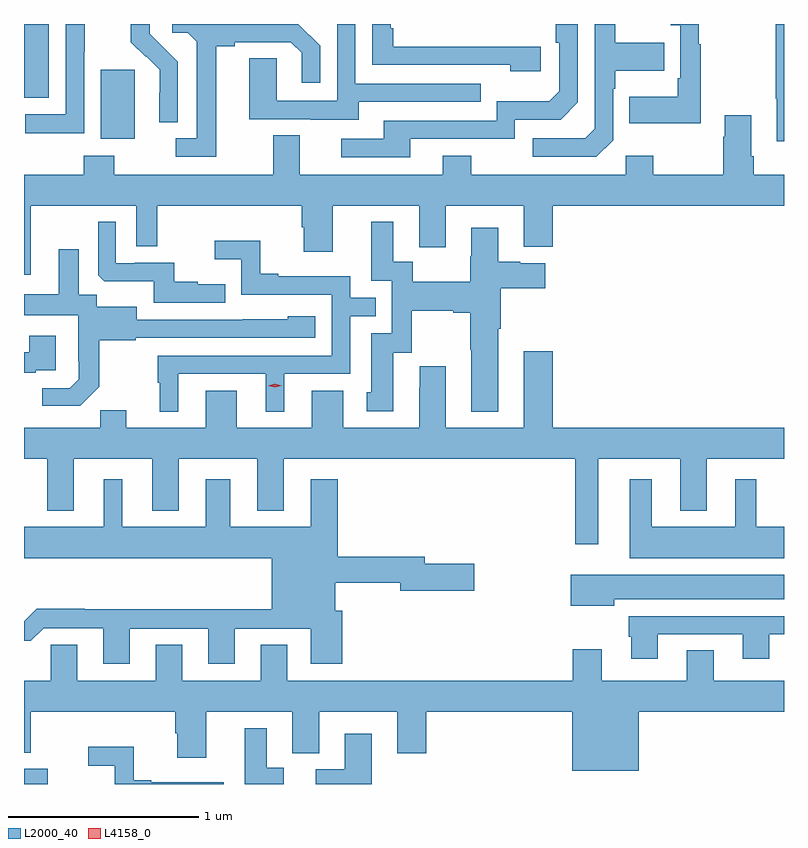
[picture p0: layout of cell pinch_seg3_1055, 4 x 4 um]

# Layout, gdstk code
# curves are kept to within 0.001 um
import gdstk
lib = gdstk.Library(unit=1e-6, precision=1e-09)
def R(c, l, rs):  # rectangles x0, y0, x1, y1
    for r in rs: c.add(gdstk.rectangle(r[:2], r[2:], *l))
def P(c, l, *ps):  # polygons
    for p in ps: c.add(gdstk.Polygon(p, *l))
L2000_40 = (2000, 40)
L4158_0 = (4158, 0)

pinch_seg3_1055 = lib.new_cell('pinch_seg3_1055')
R(pinch_seg3_1055, L2000_40, [(256.16,704.533,256.286,704.613), (256.565,707.93,256.744,708.291), (256.16,708.146,256.291,708.533), (259.847,708.531,259.987,708.533)])
P(pinch_seg3_1055, L2000_40, [(258.193,707.928),(258.744,707.928),(258.744,708.03),(258.984,708.03),(259.074,708.12),(259.074,708.533),(258.181,708.533),(258.283,708.531),(258.958,708.531),(258.958,708.434),(258.978,708.434),(258.978,708.18),(258.925,708.127),(258.648,708.127),(258.648,708.024),(258.053,708.024),(258.053,707.928),(257.829,707.928),(257.829,707.832),(258.193,707.832)],
  [(258.88,708.414),(258.103,708.414),(258.103,708.511),(258.09,708.511),(258.09,708.533),(257.994,708.533),(257.994,708.318),(258.719,708.318),(258.719,708.284),(258.88,708.284)],
  [(256.968,708.334),(256.822,708.482),(256.822,708.533),(256.723,708.533),(256.723,708.437),(256.8,708.36),(256.803,708.363),(256.874,708.293),(256.874,708.17),(256.872,708.17),(256.872,708.016),(256.968,708.016)],
  [(256.476,708.388),(256.479,708.388),(256.479,708.533),(256.38,708.533),(256.38,708.057),(256.166,708.057),(256.166,707.959),(256.476,707.959)],
  [(257.173,708.416),(257.269,708.416),(257.269,708.438),(257.564,708.438),(257.621,708.381),(257.621,708.225),(257.718,708.225),(257.718,708.418),(257.603,708.533),(257.23,708.533),(257.23,708.531),(257.136,708.531),(257.134,708.533),(256.941,708.533),(256.941,708.486),(257.022,708.486),(257.069,708.439),(257.069,707.931),(256.959,707.931),(256.959,707.835),(257.173,707.835)],
  [(257.923,708.123),(258.563,708.123),(258.563,708.219),(257.904,708.219),(257.904,708.533),(257.808,708.533),(257.808,708.129),(257.49,708.129),(257.49,708.353),(257.345,708.353),(257.345,708.033),(257.669,708.033),(257.669,708.029),(257.923,708.029)],
  [(260.16,708.533),(260.116,708.533),(260.116,708.139),(260.123,708.139),(260.123,707.916),(260.16,707.916)],
  [(259.26,707.922),(259.26,708.191),(259.273,708.191),(259.273,708.287),(259.529,708.287),(259.529,708.435),(259.273,708.435),(259.273,708.533),(259.164,708.533),(259.164,707.982),(259.113,707.931),(258.837,707.931),(258.837,707.835),(259.173,707.835)],
  [(259.723,708.427),(259.711,708.427),(259.711,708.533),(259.563,708.533),(259.563,708.527),(259.614,708.527),(259.614,708.247),(259.602,708.247),(259.602,708.151),(259.345,708.151),(259.345,708.011),(259.723,708.011)],
  [(256.195,707.576),(256.752,707.576),(256.752,707.362),(256.861,707.362),(256.861,707.576),(257.621,707.576),(257.621,707.463),(257.633,707.463),(257.633,707.334),(257.785,707.334),(257.785,707.576),(258.239,707.576),(258.239,707.358),(258.379,707.358),(258.379,707.576),(258.791,707.576),(258.791,707.36),(258.944,707.36),(258.944,707.576),(260.16,707.576),(260.16,707.74),(260,707.74),(260,707.836),(259.987,707.836),(259.987,708.052),(259.847,708.052),(259.847,707.939),(259.84,707.939),(259.84,707.74),(259.473,707.74),(259.473,707.839),(259.326,707.839),(259.326,707.74),(258.513,707.74),(258.513,707.839),(258.365,707.839),(258.365,707.74),(257.611,707.74),(257.611,707.948),(257.471,707.948),(257.471,707.74),(256.635,707.74),(256.635,707.839),(256.475,707.839),(256.475,707.74),(256.16,707.74),(256.16,707.214),(256.195,707.214)],
  [(257.219,707.164),(257.075,707.164),(257.075,707.176),(256.952,707.176),(256.952,707.277),(256.744,707.277),(256.744,707.274),(256.644,707.274),(256.644,707.491),(256.551,707.491),(256.551,707.211),(256.583,707.18),(256.842,707.18),(256.842,707.067),(257.219,707.067)],
  [(258.655,706.928),(258.668,706.928),(258.668,707.141),(258.904,707.141),(258.904,707.275),(258.771,707.275),(258.771,707.282),(258.655,707.282),(258.655,707.461),(258.515,707.461),(258.515,707.31),(258.508,707.31),(258.508,707.176),(258.205,707.176),(258.205,707.282),(258.103,707.282),(258.103,707.491),(257.987,707.491),(257.987,707.181),(258.096,707.181),(258.096,706.905),(257.987,706.905),(257.987,706.596),(257.963,706.596),(257.963,706.494),(258.103,706.494),(258.103,706.802),(258.201,706.802),(258.201,707.024),(258.419,707.024),(258.419,707.012),(258.508,707.012),(258.508,706.819),(258.515,706.819),(258.515,706.493),(258.655,706.493)],
  [(256.972,706.692),(257.432,706.692),(257.432,706.493),(257.53,706.493),(257.53,706.692),(257.877,706.692),(257.877,706.995),(258.011,706.995),(258.011,707.091),(257.877,707.091),(257.877,707.205),(257.497,707.205),(257.497,707.218),(257.403,707.218),(257.403,707.393),(257.163,707.393),(257.163,707.294),(257.304,707.294),(257.304,707.109),(257.781,707.109),(257.781,706.788),(256.863,706.788),(256.863,706.644),(256.874,706.644),(256.874,706.493),(256.972,706.493)],
  [(256.557,706.623),(256.557,706.869),(256.749,706.869),(256.749,706.881),(257.692,706.881),(257.692,706.996),(257.547,706.996),(257.547,706.978),(256.753,706.977),(256.753,707.044),(256.542,707.044),(256.542,707.108),(256.447,707.108),(256.447,707.347),(256.343,707.347),(256.343,707.11),(256.16,707.11),(256.16,707),(256.446,707),(256.446,706.759),(256.448,706.759),(256.448,706.664),(256.401,706.617),(256.257,706.617),(256.257,706.523),(256.457,706.523)],
  [(256.223,706.71),(256.327,706.71),(256.327,706.891),(256.187,706.891),(256.187,706.806),(256.16,706.806),(256.16,706.698),(256.223,706.698)],
  [(258.791,706.81),(258.791,706.408),(258.379,706.408),(258.379,706.732),(258.242,706.732),(258.242,706.619),(258.239,706.619),(258.239,706.408),(257.839,706.408),(257.839,706.603),(257.675,706.603),(257.675,706.408),(257.281,706.408),(257.281,706.603),(257.117,706.603),(257.117,706.408),(256.699,706.408),(256.699,706.499),(256.561,706.499),(256.561,706.408),(256.16,706.408),(256.16,706.244),(256.283,706.244),(256.283,705.971),(256.423,705.971),(256.423,706.244),(256.835,706.244),(256.835,705.971),(256.975,705.971),(256.975,706.244),(257.387,706.244),(257.387,705.971),(257.527,705.971),(257.527,706.244),(259.062,706.244),(259.062,705.795),(259.183,705.795),(259.183,706.244),(259.613,706.244),(259.613,705.971),(259.753,705.971),(259.753,706.244),(260.16,706.244),(260.16,706.408),(258.944,706.408),(258.944,706.81)],
  [(256.717,705.351),(257.129,705.351),(257.129,705.165),(257.269,705.165),(257.269,705.351),(257.669,705.351),(257.669,705.165),(257.834,705.165),(257.834,705.444),(257.797,705.444),(257.797,705.592),(258.14,705.592),(258.14,705.55),(258.529,705.55),(258.529,705.692),(258.268,705.692),(258.268,705.728),(257.81,705.728),(257.81,706.138),(257.669,706.138),(257.669,705.886),(257.245,705.886),(257.245,706.138),(257.117,706.138),(257.117,705.886),(256.678,705.886),(256.678,706.138),(256.58,706.138),(256.58,705.886),(256.16,705.886),(256.16,705.722),(257.465,705.722),(257.465,705.452),(256.481,705.452),(256.481,705.455),(256.226,705.455),(256.16,705.389),(256.16,705.287),(256.196,705.287),(256.263,705.354),(256.577,705.354),(256.577,705.165),(256.717,705.165)],
  [(260.16,705.886),(260.014,705.886),(260.014,706.138),(259.904,706.138),(259.904,705.886),(259.465,705.886),(259.465,706.138),(259.349,706.138),(259.349,705.722),(260.16,705.722)],
  [(259.267,705.506),(260.16,705.506),(260.16,705.634),(259.038,705.634),(259.038,705.47),(259.267,705.47)],
  [(259.495,705.321),(259.943,705.321),(259.943,705.192),(260.083,705.192),(260.083,705.321),(260.16,705.321),(260.16,705.417),(259.343,705.417),(259.343,705.309),(259.355,705.309),(259.355,705.192),(259.495,705.192)],
  [(259.396,704.912),(260.16,704.912),(260.16,705.076),(259.789,705.076),(259.789,705.236),(259.649,705.236),(259.649,705.076),(259.201,705.076),(259.201,705.241),(259.049,705.241),(259.049,705.076),(257.545,705.076),(257.545,705.266),(257.405,705.266),(257.405,705.076),(256.993,705.076),(256.993,705.266),(256.853,705.266),(256.853,705.076),(256.441,705.076),(256.441,705.266),(256.302,705.266),(256.302,705.076),(256.16,705.076),(256.16,704.698),(256.195,704.698),(256.195,704.912),(256.955,704.912),(256.955,704.799),(256.967,704.799),(256.967,704.67),(257.119,704.67),(257.119,704.912),(257.573,704.912),(257.573,704.696),(257.713,704.696),(257.713,704.912),(258.125,704.912),(258.125,704.694),(258.278,704.694),(258.278,704.912),(259.046,704.912),(259.046,704.603),(259.396,704.603)],
  [(257.527,704.618),(257.437,704.618),(257.437,704.827),(257.321,704.827),(257.321,704.533),(257.527,704.533)],
  [(257.989,704.797),(257.849,704.797),(257.849,704.611),(257.696,704.611),(257.696,704.533),(257.989,704.533)],
  [(257.211,704.541),(256.831,704.541),(256.831,704.554),(256.737,704.554),(256.737,704.729),(256.497,704.729),(256.497,704.63),(256.638,704.63),(256.638,704.533),(257.211,704.533)])
P(pinch_seg3_1055, L4158_0, [(257.481,706.62),(257.445,706.63),(257.445,706.63),(257.445,706.63),(257.481,706.64),(257.517,706.63),(257.517,706.63),(257.517,706.63)])

lib.write_gds('pinch_seg3_1055.gds')
